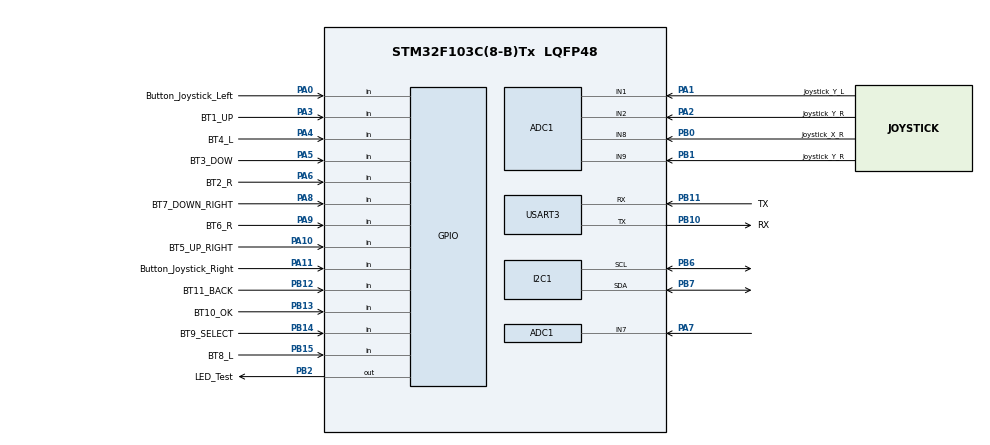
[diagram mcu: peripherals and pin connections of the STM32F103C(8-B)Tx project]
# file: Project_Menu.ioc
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ADC1.Channel-0\#ChannelRegularConversion=ADC_CHANNEL_7
ADC1.Channel-1\#ChannelRegularConversion=ADC_CHANNEL_8
ADC1.Channel-2\#ChannelRegularConversion=ADC_CHANNEL_9
ADC1.ContinuousConvMode=ENABLE
ADC1.NbrOfConversion=3
ADC1.NbrOfConversionFlag=1
ADC1.Rank-0\#ChannelRegularConversion=1
ADC1.Rank-1\#ChannelRegularConversion=2
ADC1.Rank-2\#ChannelRegularConversion=3
ADC1.SamplingTime-0\#ChannelRegularConversion=ADC_SAMPLETIME_239CYCLES_5
ADC1.SamplingTime-1\#ChannelRegularConversion=ADC_SAMPLETIME_239CYCLES_5
ADC1.SamplingTime-2\#ChannelRegularConversion=ADC_SAMPLETIME_239CYCLES_5
ADC1.master=1
Dma.ADC1.0.Direction=DMA_PERIPH_TO_MEMORY
Dma.ADC1.0.Instance=DMA1_Channel1
Dma.ADC1.0.MemDataAlignment=DMA_MDATAALIGN_HALFWORD
Dma.ADC1.0.MemInc=DMA_MINC_ENABLE
Dma.ADC1.0.Mode=DMA_CIRCULAR
Dma.ADC1.0.PeriphDataAlignment=DMA_PDATAALIGN_HALFWORD
Dma.ADC1.0.PeriphInc=DMA_PINC_DISABLE
Dma.ADC1.0.Priority=DMA_PRIORITY_LOW
Dma.Request0=ADC1
I2C1.I2C_Mode=I2C_Fast
Mcu.Family=STM32F1
Mcu.Name=STM32F103C(8-B)Tx
Mcu.Package=LQFP48
NVIC.DMA1_Channel1_IRQn=true\:0\:0\:false\:false\:true\:false\:true\:true
NVIC.PriorityGroup=NVIC_PRIORITYGROUP_4
PA0-WKUP.GPIO_Label=Button_Joystick_Left
PA0-WKUP.Signal=GPIO_Input
PA1.GPIO_Label=Joystick_Y_L
PA1.Signal=ADCx_IN1
PA10.GPIO_Label=BT5_UP_RIGHT
PA10.Signal=GPIO_Input
PA11.GPIO_Label=Button_Joystick_Right
PA11.Signal=GPIO_Input
PA13.Mode=Serial_Wire
PA13.Signal=SYS_JTMS-SWDIO
PA14.Mode=Serial_Wire
PA14.Signal=SYS_JTCK-SWCLK
PA2.GPIO_Label=Joystick_Y_R
PA2.Signal=ADCx_IN2
PA3.GPIO_Label=BT1_UP
PA3.Signal=GPIO_Input
PA4.GPIO_Label=BT4_L
PA4.Signal=GPIO_Input
PA5.GPIO_Label=BT3_DOW
PA5.Signal=GPIO_Input
PA6.GPIO_Label=BT2_R
PA6.Signal=GPIO_Input
PA7.Signal=ADCx_IN7
PA8.GPIO_Label=BT7_DOWN_RIGHT
PA8.Signal=GPIO_Input
PA9.GPIO_Label=BT6_R
PA9.Signal=GPIO_Input
PB0.GPIO_Label=Joystick_X_R
PB0.Signal=ADCx_IN8
PB1.GPIO_Label=Joystick_Y_R
PB1.Signal=ADCx_IN9
PB10.GPIO_Label=RX
PB10.Mode=Asynchronous
PB10.Signal=USART3_TX
PB11.GPIO_Label=TX
PB11.Mode=Asynchronous
PB11.Signal=USART3_RX
PB12.GPIO_Label=BT11_BACK
PB12.Signal=GPIO_Input
PB13.GPIO_Label=BT10_OK
PB13.Signal=GPIO_Input
PB14.GPIO_Label=BT9_SELECT
PB14.Signal=GPIO_Input
PB15.GPIO_Label=BT8_L
PB15.Signal=GPIO_Input
PB2.GPIO_Label=LED_Test
PB2.Signal=GPIO_Output
PB6.Mode=I2C
PB6.Signal=I2C1_SCL
PB7.Mode=I2C
PB7.Signal=I2C1_SDA
ProjectManager.HeapSize=0x200
ProjectManager.StackSize=0x400
ProjectManager.TargetToolchain=STM32CubeIDE
RCC.APB1Freq_Value=8000000
RCC.APB2Freq_Value=8000000
SH.ADCx_IN1.0=ADC1_IN1,IN1
SH.ADCx_IN2.0=ADC1_IN2,IN2
SH.ADCx_IN7.0=ADC1_IN7,IN7
SH.ADCx_IN8.0=ADC1_IN8,IN8
SH.ADCx_IN9.0=ADC1_IN9,IN9
USART3.VirtualMode=VM_ASYNC
board=custom

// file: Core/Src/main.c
/* USER CODE BEGIN Header */
/**
  ******************************************************************************
  * @file           : main.c
  * @brief          : Main program body
  ******************************************************************************
  * @attention
  *
  * Copyright (c) 2024 STMicroelectronics.
  * All rights reserved.
  *
  * This software is licensed under terms that can be found in the LICENSE file
  * in the root directory of this software component.
  * If no LICENSE file comes with this software, it is provided AS-IS.
  *
  ******************************************************************************
  */
/* USER CODE END Header */
#include "main.h"

/* USER CODE BEGIN Includes */
#include "string.h"
#include "ssd1306.h"
#include "ssd1306_tests.h"
#include "ssd1306_fonts.h"
#include <string.h>
#include <stdio.h>
#include "stdbool.h"
/* USER CODE END Includes */

/* USER CODE BEGIN PD */
//#define OK 			HAL_GPIO_ReadPin(BT10_OK_GPIO_Port, BT10_OK_Pin)
//#define UP 			HAL_GPIO_ReadPin(BT9_DOWN_GPIO_Port, BT9_DOWN_Pin)
//#define DOWN 		HAL_GPIO_ReadPin(BT11_UP_GPIO_Port, BT11_UP_Pin)
//#define BACK		HAL_GPIO_ReadPin(BT1_UP_GPIO_Port, BT1_UP_Pin)

//#define UP			HAL_GPIO_ReadPin(BT1_UP_GPIO_Port, BT1_UP_Pin)						// Dieu khien len
//#define DOWN		HAL_GPIO_ReadPin(BT3_DOW_GPIO_Port, BT3_DOW_Pin)					// Dieu khien xuong
//#define LEFT		HAL_GPIO_ReadPin(BT4_L_GPIO_Port, BT4_L_Pin)						// Dieu khien sang trai
//#define RIGHT		HAL_GPIO_ReadPin(BT2_R_GPIO_Port, BT2_R_Pin)					// Dieu khien sang phai
//
//#define BACK		HAL_GPIO_ReadPin(BT9_SELECT_GPIO_Port, BT9_SELECT_Pin)
//#define SELECT		HAL_GPIO_ReadPin(BT11_BACK_GPIO_Port, BT11_BACK_Pin)

//#define UP_RIGHT 		HAL_GPIO_ReadPin(BT5_UP_RIGHT_GPIO_Port, BT5_UP_RIGHT_Pin)
//#define DOWN_RIGHT 		HAL_GPIO_ReadPin(BT7_DOWN_RIGHT_GPIO_Port, BT7_DOWN_RIGHT_Pin)
//#define LEFT_R			HAL_GPIO_ReadPin(BT8_L_GPIO_Port, BT8_L_Pin)
//#define RIGHT_R			HAL_GPIO_ReadPin(BT6_R_GPIO_Port, BT6_R_Pin)

/* USER CODE END PD */

/* USER CODE BEGIN PM */

const char *Option[3] =
{
	"Game 1",		// Game Pong
	"Game 2",		// Flappy bird
	"Game 3"		//
};

typedef struct {
    GPIO_TypeDef* Port;
    uint16_t Pin;
    uint8_t State;
} Button;

Button buttons[] = {
    {BT1_UP_GPIO_Port, BT1_UP_Pin, 1},   // UP
    {BT3_DOW_GPIO_Port, BT3_DOW_Pin, 1}, // DOWN
    {BT4_L_GPIO_Port, BT4_L_Pin, 1},     // LEFT
    {BT2_R_GPIO_Port, BT2_R_Pin, 1},     // RIGHT
    {BT9_SELECT_GPIO_Port, BT9_SELECT_Pin, 1}, // SELECT
    {BT11_BACK_GPIO_Port, BT11_BACK_Pin, 1},    // BACK

	{BT5_UP_RIGHT_GPIO_Port, BT5_UP_RIGHT_Pin},
	{BT7_DOWN_RIGHT_GPIO_Port, BT7_DOWN_RIGHT_Pin},
	{BT8_L_GPIO_Port, BT8_L_Pin},
	{BT6_R_GPIO_Port, BT6_R_Pin}
};

enum {UP, DOWN, LEFT, RIGHT, SELECT, BACK, UP_R, DOWN_R, LEFT_R, RIGHT_R};
/* USER CODE END PM */

ADC_HandleTypeDef hadc1;
DMA_HandleTypeDef hdma_adc1;

I2C_HandleTypeDef hi2c1;

UART_HandleTypeDef huart3;

/* USER CODE BEGIN PV */
int trangthai = 1;
int cnt = 0;

uint8_t tmp_up_r = 0;
uint8_t tmp_down_r = 0;
uint8_t tmp_left_r = 0;
uint8_t tmp_right_r = 0;

int select = 0;
int enter = -1;
int enter1 = -1;

// Khai bao cac bien cho nut nhan Menu
uint8_t tt_up = 1;					// bien trang thai cho nut nhan Len
uint8_t tt_down = 1;				// Bien trang thai cho nut nhan Xuong
uint8_t tt_left = 1;
uint8_t tt_right = 1;
uint8_t tt_slect = 1;					// Bien trang thai cho nut nhan OK
uint8_t tt_back = 1;				// Bien trang thai cho nut Back
uint8_t tt_up_r = 1;
uint8_t tt_down_r = 1;
uint8_t tt_left_r = 1;
uint8_t tt_right_r = 1;

uint8_t cnt_menu = 0;				// Bien dem trong su dung trong Menu
uint8_t cnt_Oled = 0;

uint8_t pre_cnt_menu = 0;
uint8_t pre_cnt_Oled = 0;
uint8_t pre_enter = -1;
uint8_t pre_enter1 = -1;
int i;

// Bien Joystick
char buffer_adc_x_right[2];
char buffer_adc_y_right[2];
uint16_t Read_ADC[2];

/* Bien Game Pong*/
const unsigned long PADDLE_RATE = 20;		//	Toc do cua thanh trươt
const unsigned long BALL_RATE = 5;			// Toc do cua bong
const uint8_t PADDLE_HEIGHT = 10;			// Chiều cao của thanh truot

uint8_t ball_x = 64, ball_y = 32;			// Toa do ban dau cua bong
uint8_t ball_dir_x = 1, ball_dir_y = 1;		// Huong di chuyen cua bong theo truc x va truc y
unsigned long ball_update;					// Luu thoi gian tiep theo cua bong

unsigned long paddle_update;				// Luu thoi gian tiep theo cua thanh truot
const uint8_t CPU_X = 12;					// Toa do X cua thanh truot
uint8_t CPU_Y = 16;							// Toa do Y cua thanh trươt

const uint8_t PLAYER_X = 115;				// To do nguoi choi X
uint8_t PLAYER_Y = 16;						// Toa do cua nguoi choi y

#define BALL_SIZE 3							// Kich thuoc cua bong

#define SCREEN_WIDTH 128
#define SCREEN_HEIGHT 64

// Bien theo doi qua trinh bong di chuyen qua diem o giua
uint8_t cnt_points1 = 0;					// Bien dem khi bong di qua vi tri giua
uint8_t cnt_points2 = 0;
uint8_t tmp_point = 0;							// Bien theo doi khi bong di qua vi tri giua

uint8_t Ar_point[10];
/* USER CODE END PV */

void SystemClock_Config(void);
static void MX_GPIO_Init(void);
static void MX_DMA_Init(void);
static void MX_I2C1_Init(void);
static void MX_ADC1_Init(void);
static void MX_USART3_UART_Init(void);

void Read_BT(void);
void Display_OLED(void);
void Read_Buttons(void);

void drawCourt(void);
void Game_Pong(void);
void Wait_Update(void);
void Reset_Game_Pong(void);
void Mid_line(void);

/* USER CODE BEGIN 0 */

// Ham Kiem tra nut nhan Doc Gia Tri Nut Nhan khi chay thu
void Read_BT(void)
{
	// Doc Nut Nhan BT1			==> UP
    if (UP == 0)
	{
		if (tt_up == 1)
		{
			cnt++;
			tt_up = 0;
		}
	}
	else
	{
		tt_up = 1;
	}

    // Doc Nut Nhan BT2			==> RIGHT
    if (RIGHT == 0)
	{
		if (tt_right == 1)
		{
			cnt++;
			tt_right = 0;
		}
	}
	else
	{
		tt_right = 1;
	}

    // Doc Nut Nhan BT3			==> DOWN
	if (DOWN == 0)
	{
		if (tt_down == 1)
		{
			cnt++;
			tt_down = 0;
		}
	}
	else
	{
		tt_down = 1;
	}

	// Doc Nut Nhan BT4			==> LEFT
	if (LEFT == 0)
	{
		if (tt_left == 1)
		{
			cnt--;
			tt_left = 0;
		}
	}
	else
	{
		tt_left = 1;
	}

	// Doc Nut Nhan BT9			==> Select
	if (SELECT == 0)
	{
		if (tt_slect == 1)
		{
			cnt++;
			tt_slect = 0;
		}
	}
	else
	{
		tt_slect = 1;
	}

	// Doc Nut Nhan BT11			==> Back
	if (BACK == 0)
	{
		if (tt_back == 1)
		{
			cnt++;
			tt_back = 0;
		}
	}
	else
	{
		tt_back = 1;
	}

	// Doc nut nhan BT5
	if(UP_R == 0)
	{
		if(tt_up_r == 1)
		{
			tmp_up_r++;
			tt_up_r = 0;
		}
	}
	else
	{
		tt_up_r = 1;
	}

	// Doc nut nhan BT6
	if(DOWN_R == 0)
	{
		if(tt_right_r == 1)
		{
			tmp_right_r++;
			tt_right_r = 0;
		}
	}
	else
	{
		tt_right_r = 1;
	}
	// Doc nut ngan BT7
	if(LEFT_R == 0)
	{
		if(tt_down_r == 1)
		{
			tmp_down_r++;
			tt_down_r = 0;
		}
	}
	else
	{
		tt_down_r = 1;
	}
	// Doc nut nhan BT8
	if(DOWN_R == 0)
	{
		if(tt_right_r == 1)
		{
			tmp_right_r++;
			tt_down_r = 0;
		}
	}
	else
	{
		tt_down_r = 1;
	}
}

void Read_Buttons(void) {
    for (int i = 0; i < sizeof(buttons) / sizeof(buttons[0]); i++) {
        if (HAL_GPIO_ReadPin(buttons[i].Port, buttons[i].Pin) == GPIO_PIN_RESET) {
            if (buttons[i].State == 1) {
                buttons[i].State = 0;
                switch (i) {
                    case UP:
                    	cnt_menu--;
                    	//cnt_Oled = -1;
                    	break;
                    case DOWN:
                    	cnt_menu++;
                    	//cnt_Oled = -1;
                    	break;
                    case LEFT:
                    	cnt_Oled--;
                    	break;
                    case RIGHT:
                    	cnt_Oled++;
                    	break;
                    case SELECT:
                    	enter = cnt_Oled;
                    	enter1 = cnt_menu;

                    	break;
                    case BACK:
                    	enter = -1;
                    	enter1 = -1;
                    	cnt_menu = 0;
                    	Display_OLED();
                    	break;
                }
            }
        } else {
            buttons[i].State = 1;
        }
    }
}

// Ham Hien thi tren man hinh OLED
void Display_OLED(void)
{
	ssd1306_Fill(Black);
	ssd1306_DrawBitmap(0,0,background3,128,64,White);
	ssd1306_DrawBitmap(0, 0, epd_bitmap__a_frm0_40, 128, 64, White);

	ssd1306_SetCursor(6, 53);
	ssd1306_WriteString("Menu", Font_7x10, White);

	ssd1306_SetCursor(90, 53);
	ssd1306_WriteString(" Back", Font_7x10, White);

	ssd1306_UpdateScreen();

}

// Hien thi trong Menu
void Display_Menu(void)
{
	ssd1306_Clear();
	ssd1306_Fill(Black);
	for(int i = 0; i < 3; i++)
	{
		ssd1306_SetCursor(7, 2 + i*20);
		ssd1306_WriteString(Option[i], Font_11x18, White);

		if(cnt_menu == (i + 1))
		{
			ssd1306_DrawRectangle(0, 2 + i * 20, 127, 18 + i * 20, White);
		}

		if(cnt_menu >= 3)
		{
			cnt_menu = 3;
		}
	}
	ssd1306_UpdateScreen();
}

// Ham dieu khien trang thai trong Menu
void Display_Select(void)
{
	Read_Buttons();
	if((cnt_menu != pre_cnt_menu) || (enter != pre_enter) || (cnt_Oled != pre_cnt_Oled) || (enter1 != pre_enter1))
	{
		// Thuc hien ngoai man hinh chinh
		if(cnt_Oled == 1)
		{
			ssd1306_SetCursor(87, 52);
			ssd1306_WriteString(" ", Font_7x10, White);
			ssd1306_SetCursor(0, 52);
			ssd1306_WriteString(">", Font_7x10, White);
		}

		else if(cnt_Oled == 2)
		{
			ssd1306_SetCursor(0, 52);
			ssd1306_WriteString(" ", Font_7x10, White);
			ssd1306_SetCursor(87, 52);
			ssd1306_WriteString(">", Font_7x10, White);
		}
		else if(cnt_Oled > 2)
		{
			cnt_Oled = 2;
		}

		if((cnt_Oled == 1) && (enter == 1))
		{
			Display_Menu();
		}
		if((cnt_menu == 1) && (enter1 == 1))
		{
			SSD1306_Clear();
			ssd1306_Fill(Black);
			drawCourt();
			Game_Pong();
			enter1 = 1;
		}
		if((cnt_menu == 2) && (enter1 == 2))
		{

			SSD1306_Clear();
			ssd1306_Fill(Black);
			ssd1306_DrawBitmap(0, 0, Image4, 128, 64, White);
			enter1 = 2;
		}

		if((cnt_menu == 3) && (enter1 == 3))
		{
			SSD1306_Clear();
			ssd1306_Fill(Black);
			ssd1306_DrawBitmap(0, 0, garfield_128x64, 128, 64, White);
			enter1 = 3;
		}
	}

	ssd1306_UpdateScreen();
	// Cap nhat lai gia tri cua bien "cnt_menu" va "enter" de khong bi nhay khi cho vao vong lap "White"
	pre_cnt_menu = cnt_menu;
	pre_cnt_Oled = cnt_Oled;
	pre_enter = enter;
	pre_enter1 = enter1;
}

/* GAME */

/* Ham ve khung vien*/
void drawCourt(void) {
    ssd1306_DrawRectangle(0, 0, 127, 63, White);
    Mid_line();
    ssd1306_UpdateScreen();
}

void Game_Pong(void)
{
	uint8_t  update = 0;
	unsigned long time = HAL_GetTick();
	 static uint8_t up_state = 0;
	 static uint8_t down_state = 0;

	 up_state |= (HAL_GPIO_ReadPin(BT1_UP_GPIO_Port, BT1_UP_Pin) == 0);					// Đọc trạng thái nút nhấn lên, nếu được nhấn trả về 1, ngược lại trả về 0
	 down_state |= (HAL_GPIO_ReadPin(BT3_DOW_GPIO_Port, BT3_DOW_Pin) == 0);				// Đọc trạng thái nút nhấn xuong, nếu được nhấn trả về 1, ngược lại trả về 0

	 if(time > ball_update)
	 {
		 uint8_t new_x = ball_x + ball_dir_x;					// Tinh vi tri x cua bong
		 uint8_t new_y = ball_y + ball_dir_y;					// Tinh vi tri y cua bong

		 /*Neu bong tram vao canh trai hoac phai thi dao nguoc lai huong di chuyen cua X (Tuc la cham vao thanh danh bong)*/
		 if(new_x == 2 || new_y == 125)
		 {
			 tmp_point = 0;
			 ball_dir_x = -ball_dir_x;
			 new_x += ball_dir_x + ball_dir_x;
		 }

		 /*Neu bong tram vao canh tren hoac duoi thi dao nguoc lai huong di chuyen cua Y */
		 else if(new_y == 0 || new_y == 63)
		 {
			 tmp_point = 0;
			 ball_dir_y = -ball_dir_y;
			 new_y += ball_dir_y + ball_dir_y;
		 }

		 else if(new_x == CPU_X && new_y >= CPU_Y && new_y <= CPU_Y + PADDLE_HEIGHT)
		 {
			 tmp_point = 0;
			 ball_dir_x = -ball_dir_x;
			 new_x += ball_dir_x + ball_dir_x;
		 }

		 else if(new_x == PLAYER_X && new_y >= PLAYER_Y && new_y <= PLAYER_Y + PADDLE_HEIGHT)
		 {
			 tmp_point = 0;
			 ball_dir_x = -ball_dir_x;
			 new_x += ball_dir_x + ball_dir_x;
		 }

		 /*		TH khi nguoi choi thang*/
		 else if((new_x == 64) && (new_y != 64) && (tmp_point == 0))
		 {
			 cnt_points1++;
			 tmp_point = 1;
			 ssd1306_SetCursor(30, 30);
			 sprintf(Ar_point,"%d", cnt_points1);
			 ssd1306_WriteChar(Ar_point, Font_6x8, White);
			 ssd1306_UpdateScreen();

			 // Neu so len di qua vach giua lon hon hoac bang 5 thi thang
			 if(cnt_points1 >= 5)
			 {
				 ssd1306_Fill(Black);
				 ssd1306_SetCursor(40, 32);
				 ssd1306_WriteString("You Win", Font_7x10, White);
				 cnt_points1 = 0;

				 ssd1306_UpdateScreen();

				 Wait_Update();
				 Reset_Game_Pong();
			 }
		 }

		 else if(new_x <= 2 || new_x >= 125)
		 {
			 tmp_point = 0;
			 cnt_points1 = 0;
			 ssd1306_Fill(Black);
			 ssd1306_SetCursor(40, 32);
			 ssd1306_WriteString("Game Over", Font_7x10, White);
			 ssd1306_UpdateScreen();

			 Wait_Update();
			 Reset_Game_Pong();
		 }
		 else
		 {
			 ssd1306_DrawPixel(ball_x, ball_y, Black);		// Xoa bong cu khi danh ra ngoai bang cach to mau den
			 ssd1306_DrawPixel(new_x, new_y, White);		// Cap nhat lai vi tri cua bong khi danh ra ngoai

			 /*Sua kich thuoc bong lon hon bi treo chip*/
	 //		 ssd1306_FillCircle(ball_x, ball_y, BALL_SIZE, Black);
	 //		 ssd1306_FillCircle(new_x, new_y, BALL_SIZE, White);
			 ball_x = new_x;
			 ball_y = new_y;
			 ball_update += BALL_RATE;
			 update = 1;
		 }
	}
	 if(time > paddle_update) {
		 paddle_update += PADDLE_RATE;

		 ssd1306_Line(CPU_X, CPU_Y, CPU_X, CPU_Y + PADDLE_HEIGHT, Black);
		 const uint8_t half_paddle = PADDLE_HEIGHT >> 1;
		 if(CPU_Y + half_paddle > ball_y) {
			 CPU_Y -= 1;
		 }
		 if(CPU_Y + half_paddle < ball_y) {
			 CPU_Y += 1;
		 }
		 if(CPU_Y < 1) CPU_Y = 1;
		 if(CPU_Y + PADDLE_HEIGHT > 63) CPU_Y = 63 - PADDLE_HEIGHT;
		 ssd1306_Line(CPU_X, CPU_Y, CPU_X, CPU_Y + PADDLE_HEIGHT, White);

		 ssd1306_Line(PLAYER_X, PLAYER_Y, PLAYER_X, PLAYER_Y + PADDLE_HEIGHT, Black);
		 if(up_state) {
			 PLAYER_Y -= 1;
		 }
		 if(down_state) {
			 PLAYER_Y += 1;
		 }
		 up_state = down_state = 0;
		 if(PLAYER_Y < 1) PLAYER_Y = 1;
		 if(PLAYER_Y + PADDLE_HEIGHT > 63) PLAYER_Y = 63 - PADDLE_HEIGHT;
		 ssd1306_Line(PLAYER_X, PLAYER_Y, PLAYER_X, PLAYER_Y + PADDLE_HEIGHT, White);

		 update = 1;
	 }

	 if(update) {
		 ssd1306_UpdateScreen();
	 }
}

/* Khi nhan nut len hoac xuong se bat choi lai tu dau
 * 	Co tac dung khi nguoi choi thua cuoc
 *
 * */
void Wait_Update(void)
{
	while(1)
	{
		if((HAL_GPIO_ReadPin(BT1_UP_GPIO_Port, BT1_UP_Pin) == 0) || (HAL_GPIO_ReadPin(BT3_DOW_GPIO_Port, BT3_DOW_Pin) == 0))
		{
			while((HAL_GPIO_ReadPin(BT1_UP_GPIO_Port, BT1_UP_Pin) == 0) || (HAL_GPIO_ReadPin(BT3_DOW_GPIO_Port, BT3_DOW_Pin) == 0));
			break;
		}
	}
}

void Reset_Game_Pong(void)
{
	// Đặt lại vị trí của bóng ở giữa màn hình
	ball_x = SCREEN_WIDTH / 2 - BALL_SIZE / 2;
	ball_y = SCREEN_HEIGHT / 2 - BALL_SIZE / 2;

	// Đặt lại hướng bóng
	ball_dir_x = (rand() % 2 == 0) ? 1 : -1;
	ball_dir_y = (rand() % 2 == 0) ? 1 : -1;

	// Đặt lại vị trí của thanh truot danh bong
	CPU_Y = SCREEN_HEIGHT / 2 - PADDLE_HEIGHT / 2;
	PLAYER_Y = SCREEN_HEIGHT / 2 - PADDLE_HEIGHT / 2;

	// Xóa toàn bộ màn hình và vẽ lại sân chơi
	ssd1306_Fill(Black);
	drawCourt();
	ssd1306_UpdateScreen();
}

// Ke duong thang o giua
void Mid_line(void)
{
	ssd1306_Line(64, 64, 64, 0, White);
	ssd1306_UpdateScreen();
}

/*	Game 2: Flappy Bird		*/

/*
 * 			****		Value:	64
 * 			*  *
 * 			*  *
 * 			*  *
 * 			****
 *
 *			**
 *			***
 *			**					0
 * Bat dau game, vat the xuat hien o giua man hinh ben trai
 *	+, Co 2 nut nhan chinh: tang va giam (hoac co the dung 1 nut nhan tang) moi lan nhan tang 1 pixel (pixel duoc lay gia tri tu  0 den 64)
 *		-, Khi khong nhan nut vat the se roi tu diem dang dung ve 0
 *		-, Moi khi di qua ong tinh la 1 diem
 *		-, Khi cham vao Ong hoac roi ve vi tri 0 Thua cuoc
 * */

void Reset_Game_Flappy_Bird(void);			// Ham Reset Game Flappy brid
void Game_Flappy_Bird(void)
{
	uint8_t update_Game = 0;
	uint8_t Time = HAL_GetTick();
	static uint16_t Up_Value = 0;
	static uint16_t Down_Value = 0;

	Up_Value |= (HAL_GPIO_ReadPin(BT1_UP_GPIO_Port, BT1_UP_Pin) ==  0);				// nut nhan cho vat the tang
	Down_Value |= (HAL_GPIO_ReadPin(BT3_DOW_GPIO_Port, BT3_DOW_Pin) == 0);			// Nut nhan cho vat the giam

}
/* USER CODE END 0 */

int main(void)
{
  /* USER CODE BEGIN 1 */
	unsigned long Start = HAL_GetTick();
  /* USER CODE END 1 */

  /* MCU Configuration--------------------------------------------------------*/

  /* Reset of all peripherals, Initializes the Flash interface and the Systick. */
  HAL_Init();

  /* Configure the system clock */
  SystemClock_Config();

  /* Initialize all configured peripherals */
  MX_GPIO_Init();
  MX_DMA_Init();
  MX_I2C1_Init();
  MX_ADC1_Init();
  MX_USART3_UART_Init();
  /* USER CODE BEGIN 2 */
  ssd1306_Init();
  drawCourt();
  /*Sau 2s Bong moi xuat hien*/
  while(HAL_GetTick() - Start < 2000);
  ball_update = HAL_GetTick();
  paddle_update = ball_update;

  //  ssd1306_Fill(Black);
//  ssd1306_DrawBitmap(0, 0, epd_bitmap__a_frm0_40, 128, 64, White);
//
//  ssd1306_UpdateScreen();
  //Display_OLED();
  /* USER CODE END 2 */

  /* Infinite loop */
  while (1)
  {

    /* USER CODE BEGIN 3 */
	  //Read_BT();
	  //Display_Select();
	  // Doc gia tri ADC
//	  snprintf(buffer_adc_x_right, sizeof(buffer_adc_x_right), "%d",Read_ADC[1]);
//	  snprintf(buffer_adc_y_right, sizeof(buffer_adc_y_right), "%d",Read_ADC[2]);
	  //Read_Buttons();
	 Game_Pong();

  }
  /* USER CODE END 3 */
}

void SystemClock_Config(void)
{
  RCC_OscInitTypeDef RCC_OscInitStruct = {0};
  RCC_ClkInitTypeDef RCC_ClkInitStruct = {0};
  RCC_PeriphCLKInitTypeDef PeriphClkInit = {0};

  /** Initializes the RCC Oscillators according to the specified parameters
  * in the RCC_OscInitTypeDef structure.
  */
  RCC_OscInitStruct.OscillatorType = RCC_OSCILLATORTYPE_HSI;
  RCC_OscInitStruct.HSIState = RCC_HSI_ON;
  RCC_OscInitStruct.HSICalibrationValue = RCC_HSICALIBRATION_DEFAULT;
  RCC_OscInitStruct.PLL.PLLState = RCC_PLL_NONE;
  if (HAL_RCC_OscConfig(&RCC_OscInitStruct) != HAL_OK)
  {
    Error_Handler();
  }

  /** Initializes the CPU, AHB and APB buses clocks
  */
  RCC_ClkInitStruct.ClockType = RCC_CLOCKTYPE_HCLK|RCC_CLOCKTYPE_SYSCLK
                              |RCC_CLOCKTYPE_PCLK1|RCC_CLOCKTYPE_PCLK2;
  RCC_ClkInitStruct.SYSCLKSource = RCC_SYSCLKSOURCE_HSI;
  RCC_ClkInitStruct.AHBCLKDivider = RCC_SYSCLK_DIV1;
  RCC_ClkInitStruct.APB1CLKDivider = RCC_HCLK_DIV1;
  RCC_ClkInitStruct.APB2CLKDivider = RCC_HCLK_DIV1;

  if (HAL_RCC_ClockConfig(&RCC_ClkInitStruct, FLASH_LATENCY_0) != HAL_OK)
  {
    Error_Handler();
  }
  PeriphClkInit.PeriphClockSelection = RCC_PERIPHCLK_ADC;
  PeriphClkInit.AdcClockSelection = RCC_ADCPCLK2_DIV2;
  if (HAL_RCCEx_PeriphCLKConfig(&PeriphClkInit) != HAL_OK)
  {
    Error_Handler();
  }
}

static void MX_ADC1_Init(void)
{

  ADC_ChannelConfTypeDef sConfig = {0};

  /** Common config
  */
  hadc1.Instance = ADC1;
  hadc1.Init.ScanConvMode = ADC_SCAN_ENABLE;
  hadc1.Init.ContinuousConvMode = ENABLE;
  hadc1.Init.DiscontinuousConvMode = DISABLE;
  hadc1.Init.ExternalTrigConv = ADC_SOFTWARE_START;
  hadc1.Init.DataAlign = ADC_DATAALIGN_RIGHT;
  hadc1.Init.NbrOfConversion = 3;
  if (HAL_ADC_Init(&hadc1) != HAL_OK)
  {
    Error_Handler();
  }

  /** Configure Regular Channel
  */
  sConfig.Channel = ADC_CHANNEL_7;
  sConfig.Rank = ADC_REGULAR_RANK_1;
  sConfig.SamplingTime = ADC_SAMPLETIME_239CYCLES_5;
  if (HAL_ADC_ConfigChannel(&hadc1, &sConfig) != HAL_OK)
  {
    Error_Handler();
  }

  /** Configure Regular Channel
  */
  sConfig.Channel = ADC_CHANNEL_8;
  sConfig.Rank = ADC_REGULAR_RANK_2;
  if (HAL_ADC_ConfigChannel(&hadc1, &sConfig) != HAL_OK)
  {
    Error_Handler();
  }

  /** Configure Regular Channel
  */
  sConfig.Channel = ADC_CHANNEL_9;
  sConfig.Rank = ADC_REGULAR_RANK_3;
  if (HAL_ADC_ConfigChannel(&hadc1, &sConfig) != HAL_OK)
  {
    Error_Handler();
  }

}

static void MX_I2C1_Init(void)
{

  hi2c1.Instance = I2C1;
  hi2c1.Init.ClockSpeed = 400000;
  hi2c1.Init.DutyCycle = I2C_DUTYCYCLE_2;
  hi2c1.Init.OwnAddress1 = 0;
  hi2c1.Init.AddressingMode = I2C_ADDRESSINGMODE_7BIT;
  hi2c1.Init.DualAddressMode = I2C_DUALADDRESS_DISABLE;
  hi2c1.Init.OwnAddress2 = 0;
  hi2c1.Init.GeneralCallMode = I2C_GENERALCALL_DISABLE;
  hi2c1.Init.NoStretchMode = I2C_NOSTRETCH_DISABLE;
  if (HAL_I2C_Init(&hi2c1) != HAL_OK)
  {
    Error_Handler();
  }

}

static void MX_USART3_UART_Init(void)
{

  huart3.Instance = USART3;
  huart3.Init.BaudRate = 115200;
  huart3.Init.WordLength = UART_WORDLENGTH_8B;
  huart3.Init.StopBits = UART_STOPBITS_1;
  huart3.Init.Parity = UART_PARITY_NONE;
  huart3.Init.Mode = UART_MODE_TX_RX;
  huart3.Init.HwFlowCtl = UART_HWCONTROL_NONE;
  huart3.Init.OverSampling = UART_OVERSAMPLING_16;
  if (HAL_UART_Init(&huart3) != HAL_OK)
  {
    Error_Handler();
  }

}

static void MX_DMA_Init(void)
{

  /* DMA controller clock enable */
  __HAL_RCC_DMA1_CLK_ENABLE();

  /* DMA interrupt init */
  /* DMA1_Channel1_IRQn interrupt configuration */
  HAL_NVIC_SetPriority(DMA1_Channel1_IRQn, 0, 0);
  HAL_NVIC_EnableIRQ(DMA1_Channel1_IRQn);

}

static void MX_GPIO_Init(void)
{
  GPIO_InitTypeDef GPIO_InitStruct = {0};

  /* GPIO Ports Clock Enable */
  __HAL_RCC_GPIOA_CLK_ENABLE();
  __HAL_RCC_GPIOB_CLK_ENABLE();

  /*Configure GPIO pin Output Level */
  HAL_GPIO_WritePin(LED_Test_GPIO_Port, LED_Test_Pin, GPIO_PIN_RESET);

  /*Configure GPIO pins : Button_Joystick_Left_Pin BT1_UP_Pin BT4_L_Pin BT3_DOW_Pin
                           BT2_R_Pin BT7_DOWN_RIGHT_Pin BT6_R_Pin BT5_UP_RIGHT_Pin
                           Button_Joystick_Right_Pin */
  GPIO_InitStruct.Pin = Button_Joystick_Left_Pin|BT1_UP_Pin|BT4_L_Pin|BT3_DOW_Pin
                          |BT2_R_Pin|BT7_DOWN_RIGHT_Pin|BT6_R_Pin|BT5_UP_RIGHT_Pin
                          |Button_Joystick_Right_Pin;
  GPIO_InitStruct.Mode = GPIO_MODE_INPUT;
  GPIO_InitStruct.Pull = GPIO_NOPULL;
  HAL_GPIO_Init(GPIOA, &GPIO_InitStruct);

  /*Configure GPIO pin : LED_Test_Pin */
  GPIO_InitStruct.Pin = LED_Test_Pin;
  GPIO_InitStruct.Mode = GPIO_MODE_OUTPUT_PP;
  GPIO_InitStruct.Pull = GPIO_NOPULL;
  GPIO_InitStruct.Speed = GPIO_SPEED_FREQ_LOW;
  HAL_GPIO_Init(LED_Test_GPIO_Port, &GPIO_InitStruct);

  /*Configure GPIO pins : BT11_BACK_Pin BT10_OK_Pin BT9_SELECT_Pin BT8_L_Pin */
  GPIO_InitStruct.Pin = BT11_BACK_Pin|BT10_OK_Pin|BT9_SELECT_Pin|BT8_L_Pin;
  GPIO_InitStruct.Mode = GPIO_MODE_INPUT;
  GPIO_InitStruct.Pull = GPIO_NOPULL;
  HAL_GPIO_Init(GPIOB, &GPIO_InitStruct);

}

void Error_Handler(void)
{
  __disable_irq();
  while (1)
  {
  }
}
